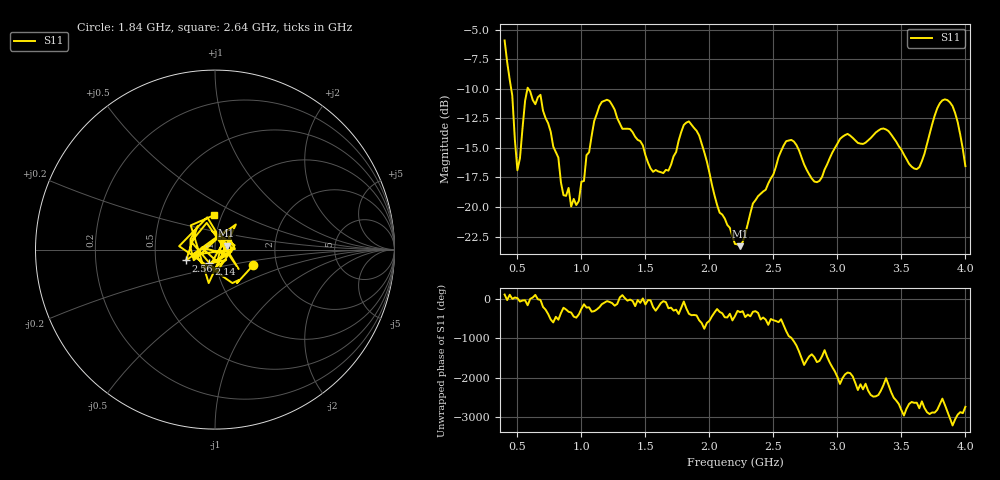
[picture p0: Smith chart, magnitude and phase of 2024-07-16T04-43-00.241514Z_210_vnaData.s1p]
!Created with skrf (http://scikit-rf.org).
# Hz S RI R 50.0
!freq ReS11 ImS11
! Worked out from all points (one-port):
!   181 points, 400 MHz to 4 GHz, reference 50 ohm
!   lowest |S11| = -23.3 dB at 2.24 GHz (marker M1), VSWR 1.15, Z = 56.8 + j2.56 ohm
!   |S11| at or under -10 dB: 451.4 MHz to 578.4 MHz (127 MHz wide, 24.7 % of centre); 585.6 MHz to end of sweep
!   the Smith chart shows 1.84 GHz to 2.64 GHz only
!   S11 on the Smith chart (normalised r, x): 1.84 GHz: 1.51, -0.28; 2.14 GHz: 0.92, -0.14; 2.56 GHz: 0.72, -0.09; 2.64 GHz: 0.92, +0.37
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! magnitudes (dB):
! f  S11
! 400 MHz  -5.9
! 460 MHz  -10.6
! 500 MHz  -16.9
! 580 MHz  -9.9
! 680 MHz  -10.5
! 820 MHz  -15.8
! 860 MHz  -19.0
! 980 MHz  -19.5
! 1.16 GHz  -11.1
! 1.3 GHz  -12.9
! 1.56 GHz  -17.0
! 1.68 GHz  -16.9
! 1.76 GHz  -14.4
! 1.84 GHz  -12.8
! 2.14 GHz  -21.5
! 2.2 GHz  -23.1
! 2.24 GHz  -23.3
! 2.56 GHz  -15.3
! 2.64 GHz  -14.3
! 2.66 GHz  -14.5
! 2.84 GHz  -17.9
! 3.1 GHz  -14.0
! 3.38 GHz  -13.4
! 3.56 GHz  -16.3
! 3.64 GHz  -16.6
! 3.84 GHz  -10.9
! 3.92 GHz  -12.1
! 4 GHz  -16.5
